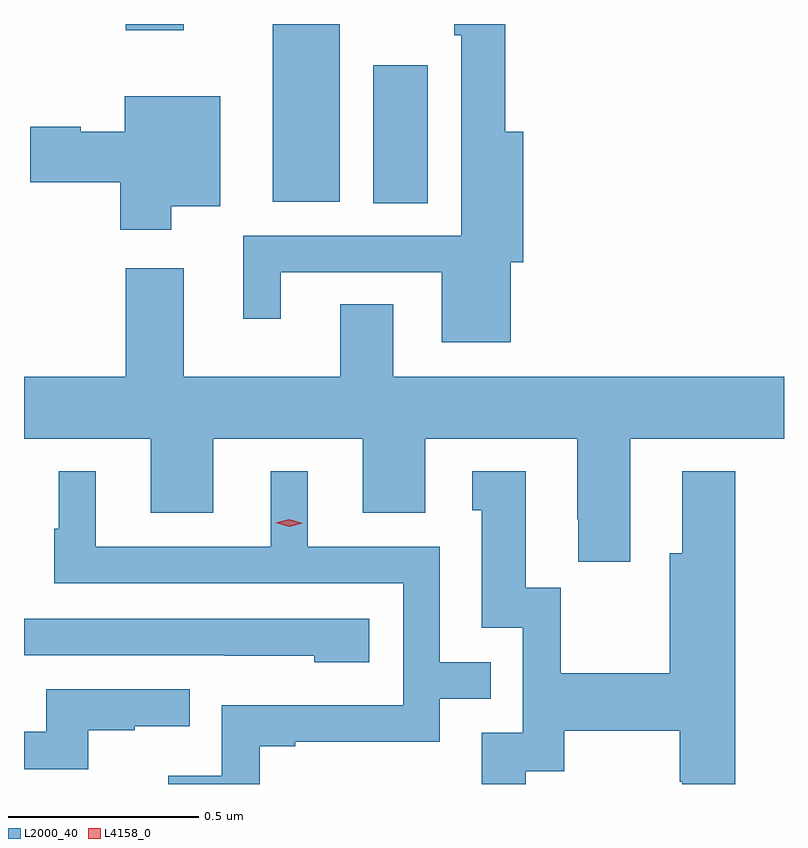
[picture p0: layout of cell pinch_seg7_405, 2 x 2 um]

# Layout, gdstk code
import gdstk
lib = gdstk.Library(unit=1e-6, precision=1e-09)
def R(c, l, rs):  # rectangles x0, y0, x1, y1
    for r in rs: c.add(gdstk.rectangle(r[:2], r[2:], *l))
def P(c, l, *ps):  # polygons
    for p in ps: c.add(gdstk.Polygon(p, *l))
L2000_40 = (2000, 40)
L4158_0 = (4158, 0)

pinch_seg7_405 = lib.new_cell('pinch_seg7_405')
R(pinch_seg7_405, L2000_40, [(551.408,1037.2,551.551,1037.563), (551.144,1037.204,551.32,1037.672), (550.757,1037.655,550.909,1037.672)])
P(pinch_seg7_405, L2000_40, [(551.77,1037.045),(551.803,1037.045),(551.803,1037.389),(551.756,1037.389),(551.756,1037.672),(551.621,1037.672),(551.621,1037.643),(551.64,1037.643),(551.64,1037.115),(551.066,1037.115),(551.066,1036.896),(551.164,1036.896),(551.164,1037.019),(551.588,1037.019),(551.588,1036.835),(551.77,1036.835)],
  [(550.876,1037.192),(551.005,1037.192),(551.005,1037.482),(550.754,1037.482),(550.754,1037.389),(550.638,1037.389),(550.638,1037.402),(550.506,1037.402),(550.506,1037.255),(550.742,1037.255),(550.742,1037.13),(550.876,1037.13)],
  [(552.085,1036.58),(552.489,1036.58),(552.489,1036.744),(551.461,1036.744),(551.461,1036.934),(551.321,1036.934),(551.321,1036.744),(550.909,1036.744),(550.909,1037.029),(550.757,1037.029),(550.757,1036.744),(550.489,1036.744),(550.489,1036.58),(550.823,1036.58),(550.823,1036.386),(550.987,1036.386),(550.987,1036.58),(551.381,1036.58),(551.381,1036.386),(551.545,1036.386),(551.545,1036.58),(551.945,1036.58),(551.945,1036.369),(551.947,1036.369),(551.947,1036.257),(552.085,1036.257)],
  [(551.809,1035.706),(551.911,1035.706),(551.911,1035.812),(552.214,1035.812),(552.214,1035.678),(552.221,1035.678),(552.221,1035.672),(552.361,1035.672),(552.361,1036.495),(552.221,1036.495),(552.221,1036.279),(552.188,1036.279),(552.188,1035.964),(551.902,1035.964),(551.902,1036.189),(551.809,1036.189),(551.809,1036.495),(551.669,1036.495),(551.669,1036.392),(551.693,1036.392),(551.693,1036.083),(551.802,1036.083),(551.802,1035.807),(551.693,1035.807),(551.693,1035.672),(551.809,1035.672)],
  [(551.109,1035.771),(551.203,1035.771),(551.203,1035.783),(551.583,1035.783),(551.583,1035.897),(551.717,1035.897),(551.717,1035.993),(551.583,1035.993),(551.583,1036.296),(551.236,1036.296),(551.236,1036.495),(551.138,1036.495),(551.138,1036.296),(550.678,1036.296),(550.678,1036.495),(550.58,1036.495),(550.58,1036.344),(550.569,1036.344),(550.569,1036.2),(551.487,1036.2),(551.487,1035.879),(551.01,1035.879),(551.01,1035.694),(550.869,1035.694),(550.869,1035.672),(551.109,1035.672)],
  [(551.398,1036.107),(550.489,1036.107),(550.489,1036.011),(551.017,1036.011),(551.017,1036.01),(551.253,1036.01),(551.253,1035.992),(551.398,1035.992)],
  [(550.658,1035.813),(550.781,1035.813),(550.781,1035.824),(550.925,1035.824),(550.925,1035.921),(550.548,1035.921),(550.548,1035.809),(550.489,1035.809),(550.489,1035.711),(550.658,1035.711)])
P(pinch_seg7_405, L4158_0, [(551.187,1036.349),(551.151,1036.36),(551.151,1036.36),(551.151,1036.36),(551.187,1036.369),(551.223,1036.358),(551.223,1036.358),(551.223,1036.358)])

lib.write_gds('pinch_seg7_405.gds')
